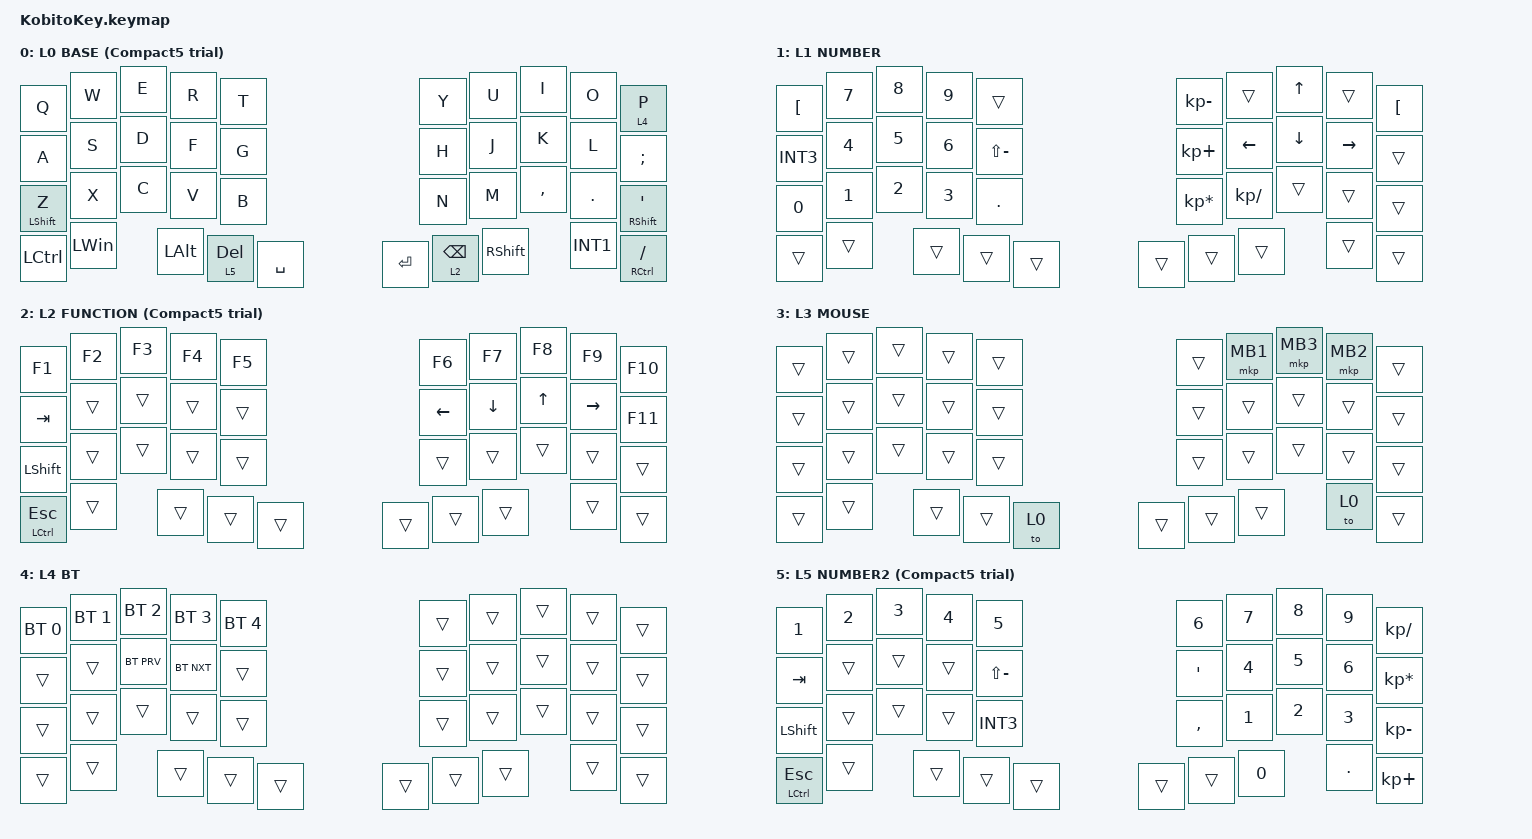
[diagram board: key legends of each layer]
#include <input/processors.dtsi>
#include <behaviors.dtsi>
#include <dt-bindings/zmk/bt.h>
#include <dt-bindings/zmk/keys.h>
#include <dt-bindings/zmk/pointing.h>
#include "layout_shift.dtsi"

/ {
    behaviors {
        // Keep the original key_press behavior for ZMK core components

        original_key_press: original_key_press {
            compatible = "zmk,behavior-key-press";
            #binding-cells = <1>;
            label = "KEY_PRESS";
        };

        // Override the existing &kp behavior to use our custom implementation

        kp: key_press {
            compatible = "zmk,behavior-layout-shift-key-press";
            #binding-cells = <1>;
            label = "LAYOUT_SHIFT_KEY_PRESS";
        };
    };
};

/ {
    macros {
        paren_pair: paren_pair {
            compatible = "zmk,behavior-macro";
            #binding-cells = <0>;
            wait-ms = <20>;
            tap-ms = <20>;
            bindings = <&kp LS(NUMBER_8) &kp LS(NUMBER_9) &kp LEFT_ARROW>;
        };

        bracket_pair: bracket_pair {
            compatible = "zmk,behavior-macro";
            #binding-cells = <0>;
            wait-ms = <20>;
            tap-ms = <20>;
            bindings = <&kp RIGHT_BRACKET &kp NUHS &kp LEFT_ARROW>;
        };

        long_vowel: long_vowel {
            compatible = "zmk,behavior-macro";
            #binding-cells = <0>;
            bindings = <&kp MINUS>;
        };

        eisu_base: eisu_base {
            compatible = "zmk,behavior-macro";
            #binding-cells = <0>;
            bindings = <&kp LANG2>;
        };

        kana_base: kana_base {
            compatible = "zmk,behavior-macro";
            #binding-cells = <0>;
            bindings = <&kp LANG1>;
        };
    };
};

/ {
    combos {
        compatible = "zmk,combos";

        combo_eisu {
            timeout-ms = <50>;
            key-positions = <12 13>;
            bindings = <&eisu_base>;
            layers = <0 1 5>;
        };

        combo_kana {
            timeout-ms = <50>;
            key-positions = <16 17>;
            bindings = <&kana_base>;
            layers = <0 1 5>;
        };

        combo_esc {
            timeout-ms = <50>;
            key-positions = <0 1>;
            bindings = <&kp ESC>;
            layers = <0>;
        };

        combo_tab {
            timeout-ms = <50>;
            key-positions = <10 11>;
            bindings = <&kp TAB>;
            layers = <0>;
        };

        combo_long_vowel {
            timeout-ms = <50>;
            key-positions = <8 9>;
            bindings = <&long_vowel>;
            layers = <0>;
        };

        // JIS host: LEFT_BRACKET key produces @ (verify on real Windows layout).
        combo_at {
            timeout-ms = <50>;
            key-positions = <13 16>; // physical F + J
            bindings = <&kp LEFT_BRACKET>;
            layers = <0>;
        };

        combo_paren_pair {
            timeout-ms = <50>;
            key-positions = <18 19>;
            bindings = <&paren_pair>;
            layers = <0 1 5>;
        };

        combo_bracket_pair {
            timeout-ms = <50>;
            key-positions = <28 29>;
            bindings = <&bracket_pair>;
            layers = <0 1 5>;
        };
    };

    keymap {
        compatible = "zmk,keymap";

        default_layer {
            label = "L0 BASE (Compact5 trial)";
            bindings = <
&kp Q         &kp W     &kp E  &kp R     &kp T                             &kp Y    &kp U    &kp I      &kp O     &lt 4 P
&kp A         &kp S     &kp D  &kp F     &kp G                             &kp H    &kp J    &kp K      &kp L     &kp SEMI
&mt LSHIFT Z  &kp X     &kp C  &kp V     &kp B                             &kp N    &kp M    &kp COMMA  &kp DOT   &mt RSHIFT APOS
&kp LCTRL     &kp LWIN         &kp LALT  &lt 5 DEL  &kp SPACE  &kp ENTER  &lt 2 BACKSPACE  &kp RIGHT_SHIFT   &kp INT1  &mt RCTRL SLASH
            >;
        };

        NUM {
            label = "L1 NUMBER";
            bindings = <
&kp LEFT_BRACKET  &kp NUMBER_7  &kp NUMBER_8  &kp NUMBER_9  &trans                         &kp KP_MINUS     &trans          &kp UP_ARROW    &trans           &kp LEFT_BRACKET
&kp INT3          &kp NUMBER_4  &kp NUMBER_5  &kp NUMBER_6  &kp LS(MINUS)                  &kp KP_PLUS      &kp LEFT_ARROW  &kp DOWN_ARROW  &kp RIGHT_ARROW  &trans
&kp NUMBER_0      &kp NUMBER_1  &kp NUMBER_2  &kp NUMBER_3  &kp PERIOD                     &kp KP_MULTIPLY  &kp KP_SLASH    &trans          &trans           &trans
&trans            &trans                      &trans        &trans         &trans  &trans  &trans           &trans                          &trans           &trans
            >;
        };

        FUNC {
            label = "L2 FUNCTION (Compact5 trial)";
            bindings = <
&kp F1           &kp F2  &kp F3  &kp F4  &kp F5                             &kp F6     &kp F7      &kp F8    &kp F9     &kp F10
&kp TAB          &trans  &trans  &trans  &trans                             &kp LEFT   &kp DOWN    &kp UP    &kp RIGHT  &kp F11
&kp LEFT_SHIFT   &trans  &trans  &trans  &trans                             &trans     &trans      &trans    &trans     &trans
&mt LCTRL ESCAPE &trans          &trans  &trans  &trans  &trans  &trans       &trans                &trans     &trans
            >;
        };

        MOUSE {
            label = "L3 MOUSE";
            bindings = <
&trans  &trans  &trans  &trans  &trans                 &trans  &mkp MB1  &mkp MB3  &mkp MB2  &trans
&trans  &trans  &trans  &trans  &trans                 &trans  &trans    &trans    &trans    &trans
&trans  &trans  &trans  &trans  &trans                 &trans  &trans    &trans    &trans    &trans
&trans  &trans          &trans  &trans  &to 0  &trans  &trans  &trans              &to 0     &trans
            >;
        };

        BT {
            label = "L4 BT";
            bindings = <
&bt BT_SEL 0  &bt BT_SEL 1  &bt BT_SEL 2  &bt BT_SEL 3  &bt BT_SEL 4                  &trans  &trans  &trans  &trans  &trans
&trans        &trans        &bt BT_PRV    &bt BT_NXT    &trans                        &trans  &trans  &trans  &trans  &trans
&trans        &trans        &trans        &trans        &trans                        &trans  &trans  &trans  &trans  &trans
&trans        &trans                      &trans        &trans        &trans  &trans  &trans  &trans          &trans  &trans
            >;
        };

        NUM2 {
            label = "L5 NUMBER2 (Compact5 trial)";
            bindings = <
&kp N1             &kp N2  &kp N3   &kp N4   &kp N5                           &kp N6     &kp N7  &kp N8  &kp N9  &kp KP_SLASH
&kp TAB            &trans  &trans   &trans   &kp LS(MINUS)                    &kp APOS   &kp N4  &kp N5  &kp N6  &kp KP_MULTIPLY
&kp LEFT_SHIFT     &trans  &trans   &trans   &kp INT3                         &kp COMMA  &kp N1  &kp N2  &kp N3  &kp KP_MINUS
&mt LCTRL ESCAPE   &trans           &trans   &trans    &trans  &trans  &trans   &kp N0             &kp PERIOD &kp KP_PLUS
            >;
        };
    };
};
